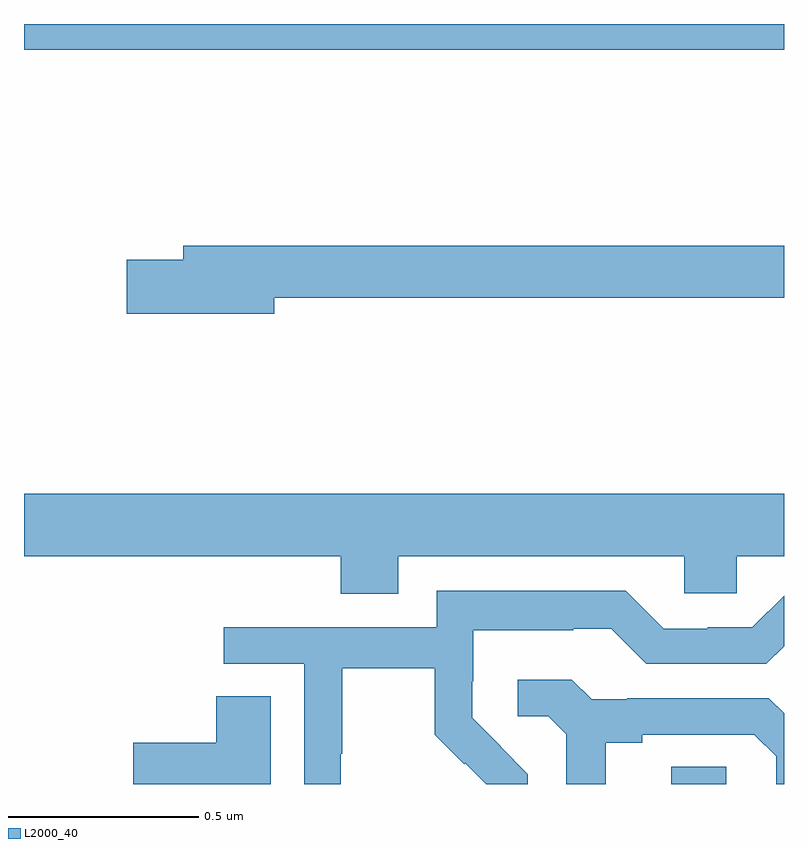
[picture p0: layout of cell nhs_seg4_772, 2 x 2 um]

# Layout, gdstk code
import gdstk
lib = gdstk.Library(unit=1e-6, precision=1e-09)
def R(c, l, rs):  # rectangles x0, y0, x1, y1
    for r in rs: c.add(gdstk.rectangle(r[:2], r[2:], *l))
def P(c, l, *ps):  # polygons
    for p in ps: c.add(gdstk.Polygon(p, *l))
L2000_40 = (2000, 40)

nhs_seg4_772 = lib.new_cell('nhs_seg4_772')
R(nhs_seg4_772, L2000_40, [(121.703,782.9,121.848,782.945), (120,784.832,122,784.9)])
P(nhs_seg4_772, L2000_40, [(120.658,784.18),(122,784.18),(122,784.316),(120.419,784.316),(120.419,784.28),(120.27,784.28),(120.27,784.138),(120.658,784.138)],
  [(120.985,783.5),(121.737,783.5),(121.737,783.402),(121.875,783.402),(121.875,783.5),(122,783.5),(122,783.664),(120,783.664),(120,783.5),(120.833,783.5),(120.833,783.401),(120.985,783.401)],
  [(120.834,782.98),(120.837,782.98),(120.837,783.204),(121.081,783.204),(121.081,783.029),(121.158,782.952),(121.161,782.955),(121.217,782.9),(121.326,782.9),(121.326,782.926),(121.253,782.999),(121.254,783),(121.18,783.074),(121.18,783.171),(121.182,783.171),(121.182,783.305),(121.445,783.305),(121.445,783.309),(121.545,783.309),(121.638,783.216),(121.953,783.216),(122,783.263),(122,783.395),(121.917,783.312),(121.799,783.312),(121.799,783.309),(121.683,783.309),(121.583,783.409),(121.086,783.409),(121.086,783.312),(120.525,783.312),(120.525,783.216),(120.738,783.216),(120.738,782.9),(120.834,782.9)],
  [(121.531,783.008),(121.627,783.008),(121.627,783.03),(121.922,783.03),(121.979,782.973),(121.979,782.9),(122,782.9),(122,783.086),(121.96,783.126),(121.588,783.126),(121.588,783.123),(121.494,783.123),(121.442,783.175),(121.299,783.175),(121.299,783.078),(121.38,783.078),(121.427,783.031),(121.427,782.9),(121.531,782.9)],
  [(120.649,783.131),(120.506,783.131),(120.506,783.008),(120.288,783.008),(120.288,782.9),(120.649,782.9)])

lib.write_gds('nhs_seg4_772.gds')
